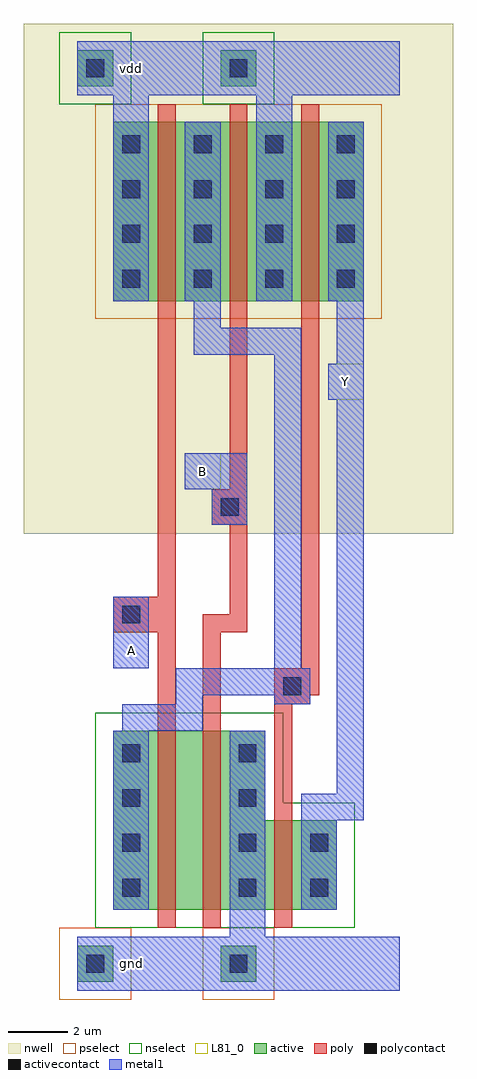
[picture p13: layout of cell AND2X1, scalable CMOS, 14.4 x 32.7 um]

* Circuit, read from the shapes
.subckt AND2X1 A B Y gnd vdd
M1 n1 A n2 gnd nfet w=6u l=0.6u
M2 gnd B n1 gnd nfet w=6u l=0.6u
M3 Y n2 gnd gnd nfet w=3u l=0.6u
M4 n2 A vdd vdd pfet w=6u l=0.6u
M5 vdd B n2 vdd pfet w=6u l=0.6u
M6 Y n2 vdd vdd pfet w=6u l=0.6u
.ends

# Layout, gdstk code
import gdstk
lib = gdstk.Library(unit=1e-6, precision=1e-08)
def R(c, l, rs):  # rectangles x0, y0, x1, y1
    for r in rs: c.add(gdstk.rectangle(r[:2], r[2:], *l))
def A(c, l, x, y, w, h, nx, ny, dx, dy):  # array of equal rectangles
    R(c, l, [(x+i*dx, y+j*dy, x+i*dx+w, y+j*dy+h) for i in range(nx) for j in range(ny)])
nwell = (42, 0)
active = (43, 0)
pselect = (44, 0)
nselect = (45, 0)
poly = (46, 0)
polycontact = (47, 0)
activecontact = (48, 0)
metal1 = (49, 0)
L81_0 = (81, 0)

and2x1 = lib.new_cell('AND2X1')
R(and2x1, nwell, [(-2.4,14.4,12,31.5)])
R(and2x1, active, [(-0.6,-0.6,0.6,0.6), (4.2,-0.6,5.4,0.6), (0.6,1.8,8.1,4.8), (0.6,4.8,5.7,7.8), (0.6,22.2,9,28.2), (-0.6,29.4,0.6,30.6), (4.2,29.4,5.4,30.6)])
R(and2x1, pselect, [(-1.2,-1.2,1.2,1.2), (3.6,-1.2,6,1.2), (0,21.6,9.6,28.8)])
R(and2x1, nselect, [(0,1.2,8.7,5.4), (0,5.4,6.3,8.4), (-1.2,28.8,1.2,31.2), (3.6,28.8,6,31.2)])
R(and2x1, poly, [(2.1,1.2,2.7,11.1), (3.6,1.2,4.2,11.1), (6,1.2,6.6,8.7), (6,8.7,7.2,9), (6,9,7.5,9.9), (6.9,9.9,7.5,28.8), (0.6,11.1,2.7,12.3), (3.6,11.1,5.1,11.7), (4.5,11.7,5.1,14.7), (2.1,12.3,2.7,28.8), (3.9,14.7,5.1,15.9), (4.5,15.9,5.1,28.8)])
R(and2x1, polycontact, [(6.3,9,6.9,9.6), (0.9,11.4,1.5,12), (4.2,15,4.8,15.6)])
A(and2x1, activecontact, 0.9, 2.25, 0.6, 0.6, 1, 4, 0, 1.5)
A(and2x1, activecontact, 4.8, 2.25, 0.6, 0.6, 1, 4, 0, 1.5)
A(and2x1, activecontact, 0.9, 22.65, 0.6, 0.6, 4, 4, 2.4, 1.5)
R(and2x1, activecontact, [(-0.3,-0.3,0.3,0.3), (4.5,-0.3,5.1,0.3), (7.2,2.25,7.8,2.85), (7.2,3.75,7.8,4.35), (-0.3,29.7,0.3,30.3), (4.5,29.7,5.1,30.3)])
R(and2x1, metal1, [(-0.6,-0.9,10.2,0.9), (4.5,0.9,5.7,7.8), (0.6,1.8,1.8,7.8), (6.9,1.8,8.1,4.8), (6.9,4.8,9,5.7), (8.1,5.7,9,18.9), (0.9,7.8,3.6,8.7), (2.7,8.7,3.6,9), (6,8.7,7.2,9), (2.7,9,7.2,9.9), (0.6,9.9,1.8,12.3), (6,9.9,6.9,20.4), (3.9,14.7,5.1,15.9), (3,15.9,5.1,17.1), (7.8,18.9,9,20.1), (8.1,20.1,9,22.2), (3.3,20.4,6.9,21.3), (3.3,21.3,4.2,22.2), (0.6,22.2,1.8,29.1), (3,22.2,4.2,28.2), (5.4,22.2,6.6,29.1), (7.8,22.2,9,28.2), (-0.6,29.1,10.2,30.9)])
R(and2x1, L81_0, [(0.6,9.9,1.8,11.1), (3,15.9,4.2,17.1), (7.8,18.9,9,20.1)])
and2x1.add(gdstk.Label('Y', (8.4,19.5), layer=109, texttype=0))
and2x1.add(gdstk.Label('B', (3.6,16.5), layer=109, texttype=0))
and2x1.add(gdstk.Label('vdd', (1.2,30), layer=109, texttype=0))
and2x1.add(gdstk.Label('gnd', (1.2,0), layer=109, texttype=0))
and2x1.add(gdstk.Label('A', (1.2,10.5), layer=109, texttype=0))

lib.write_gds('AND2X1.gds')
